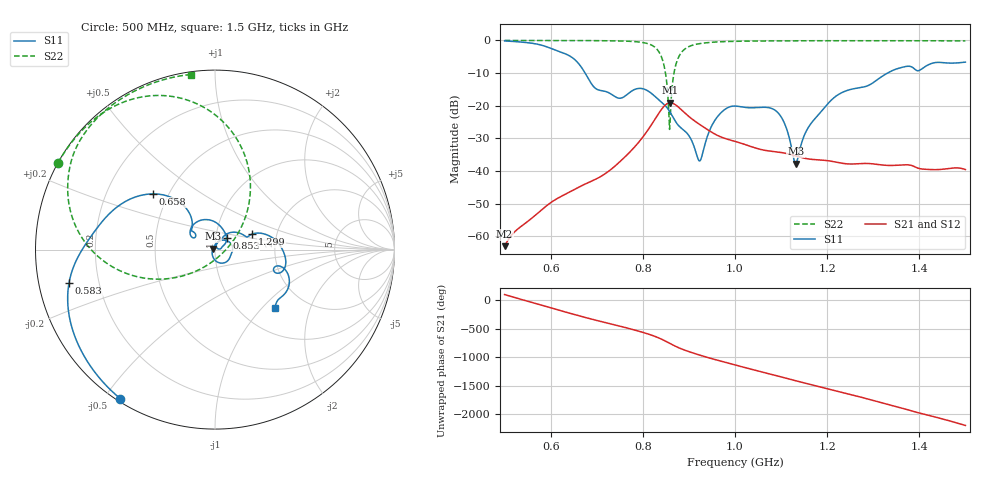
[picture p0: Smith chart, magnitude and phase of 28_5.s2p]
! TOUCHSTONE file generated by CST MICROWAVE STUDIO
! Date and time: Mon Oct 26 12:30:52 2020
! Project name: Scenario_1_Circular_Tissue_out_of_Line.cst
! Parameters = {dy1=122.207; L_HA=400; MT=2.54; Rad_Dielectric=30; Rad_Lower=7.3; Rad_Upper=30; a_HA=580; a_WG=246; b_HA=500; b_WG=121; c_HA=0; c_WG=187; d_feed=85; dx1=866; h_feed=15; h_lower=18; h_upper=40}
! Header version: 2018
! Port assignment regex: !\s*Touchstone port\s*([0-9]+)\s*=\s*(CST MWS port|CST DS port)\s*([0-9]+|Zmin|Zmax)\s*\(\"(.*)\"\)(\s*mode\s*([0-9]+))?.*
! Touchstone port assignment:
! Touchstone port 1 = CST MWS port 1 ("")
! Touchstone port 2 = CST MWS port 2 ("")
# GHz S DB R 50
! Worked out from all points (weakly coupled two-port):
!   1001 points, 500 MHz to 1.5 GHz, reference 50 ohm
!   highest |S21| = -19.09 dB at 860 MHz (marker M1); lowest = -63.0 dB at 500 MHz (marker M2)
!   lowest |S11| = -37.7 dB at 1.132 GHz (marker M3), VSWR 1.03, Z = 48.8 + j0.498 ohm
!   |S11| at or under -10 dB: 674.7 MHz to 1.331 GHz (656.2 MHz wide, 65.4 % of centre)
!   |S22| runs from -27.3 to 0.0 dB; largest |S21 - S12| = 1.2e-05
!   S11 on the Smith chart (normalised r, x): 500 MHz: 0.01, -0.55; 583 MHz: 0.09, -0.11; 658 MHz: 0.41, +0.33; 853 MHz: 1.13, +0.15; 1.299 GHz: 1.49, +0.27; 1.5 GHz: 1.42, -1.18
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0.5  -0.14 -122.4  -63.02 97.2  -63.02 97.2  -0.01 151.1
0.583  -1.56 -167.0  -51.58 -93.3  -51.58 -93.3  -0.02 145.4
0.658  -6.67 138.0  -45.15 92.9  -45.15 92.9  -0.04 139.2
0.667  -8.28 130.4  -44.50 72.9  -44.50 72.9  -0.04 138.4
0.702  -15.08 136.9  -42.20 -0.6  -42.20 -0.6  -0.07 134.6
0.779  -15.24 143.1  -33.12 -157.6  -33.12 -157.6  -0.32 120.7
0.834  -18.10 71.0  -22.44 59.0  -22.45 59.0  -3.30 83.7
0.846  -19.59 55.7  -20.17 13.9  -20.17 13.9  -7.69 61.4
0.853  -20.69 45.5  -19.35 -15.4  -19.35 -15.4  -14.55 39.8
0.86  -22.18 36.1  -19.09 -45.4  -19.09 -45.4  -21.94 -109.2
0.868  -24.16 28.9  -19.45 -78.4  -19.45 -78.4  -9.66 -150.1
0.878  -26.15 25.4  -20.52 -115.6  -20.52 -115.6  -5.00 -169.1
0.923  -36.92 37.9  -25.71 117.0  -25.71 117.0  -0.98 156.8
0.957  -24.33 56.9  -28.74 37.4  -28.74 37.4  -0.50 147.5
1  -20.10 4.2  -30.92 -55.0  -30.92 -55.0  -0.27 140.3
1.09  -21.71 -66.5  -34.12 116.0  -34.12 116.0  -0.13 130.6
1.132  -37.75 156.8  -35.40 25.9  -35.40 25.9  -0.11 127.0
1.167  -25.06 63.1  -36.44 -43.8  -36.44 -43.8  -0.10 124.2
1.223  -16.69 41.6  -37.38 -159.9  -37.38 -159.9  -0.09 119.9
1.299  -13.02 22.7  -37.81 43.2  -37.81 43.2  -0.08 114.2
1.334  -9.76 12.0  -38.29 -30.7  -38.29 -30.7  -0.08 111.5
1.5  -6.65 -44.5  -39.56 -36.3  -39.56 -36.4  -0.13 97.9
